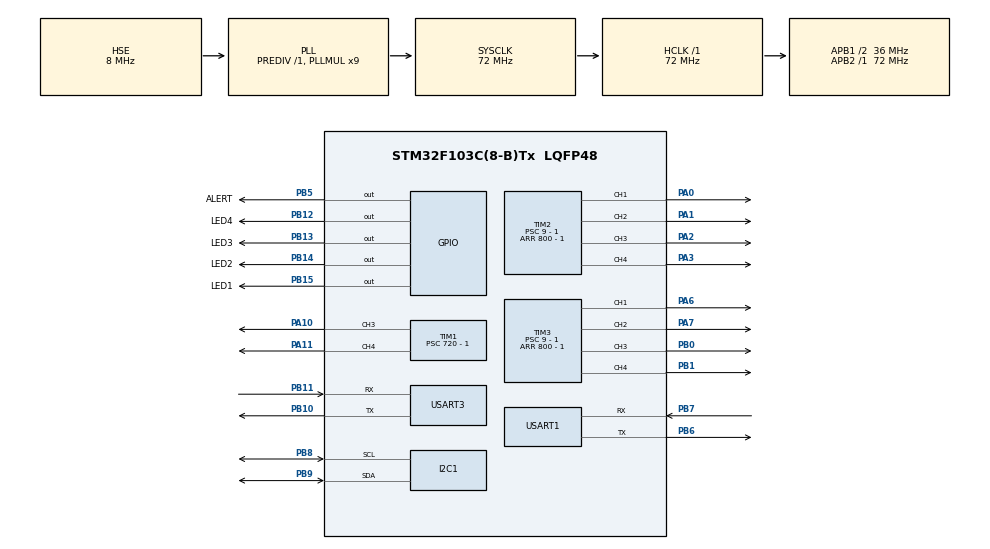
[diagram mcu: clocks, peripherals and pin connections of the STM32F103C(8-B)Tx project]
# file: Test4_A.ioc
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Mcu.Family=STM32F1
Mcu.Name=STM32F103C(8-B)Tx
Mcu.Package=LQFP48
NVIC.I2C1_ER_IRQn=true\:0\:0\:false\:false\:true\:true\:true\:true
NVIC.I2C1_EV_IRQn=true\:0\:0\:false\:false\:true\:true\:true\:true
NVIC.PriorityGroup=NVIC_PRIORITYGROUP_4
NVIC.USART1_IRQn=true\:0\:0\:false\:false\:true\:true\:true\:true
NVIC.USART3_IRQn=true\:0\:0\:false\:false\:true\:true\:true\:true
PA0-WKUP.Signal=S_TIM2_CH1_ETR
PA1.Signal=S_TIM2_CH2
PA10.Signal=S_TIM1_CH3
PA11.Signal=S_TIM1_CH4
PA13.Mode=Serial_Wire
PA13.Signal=SYS_JTMS-SWDIO
PA14.Mode=Serial_Wire
PA14.Signal=SYS_JTCK-SWCLK
PA2.Signal=S_TIM2_CH3
PA3.Signal=S_TIM2_CH4
PA6.Signal=S_TIM3_CH1
PA7.Signal=S_TIM3_CH2
PB0.Signal=S_TIM3_CH3
PB1.Signal=S_TIM3_CH4
PB10.Mode=Asynchronous
PB10.Signal=USART3_TX
PB11.Mode=Asynchronous
PB11.Signal=USART3_RX
PB12.GPIO_Label=LED4
PB12.GPIO_ModeDefaultOutputPP=GPIO_MODE_OUTPUT_OD
PB12.GPIO_PuPd=GPIO_NOPULL
PB12.PinState=GPIO_PIN_SET
PB12.Signal=GPIO_Output
PB13.GPIO_Label=LED3
PB13.GPIO_ModeDefaultOutputPP=GPIO_MODE_OUTPUT_OD
PB13.GPIO_PuPd=GPIO_NOPULL
PB13.PinState=GPIO_PIN_SET
PB13.Signal=GPIO_Output
PB14.GPIO_Label=LED2
PB14.GPIO_ModeDefaultOutputPP=GPIO_MODE_OUTPUT_OD
PB14.GPIO_PuPd=GPIO_NOPULL
PB14.PinState=GPIO_PIN_SET
PB14.Signal=GPIO_Output
PB15.GPIO_Label=LED1
PB15.GPIO_ModeDefaultOutputPP=GPIO_MODE_OUTPUT_OD
PB15.GPIO_PuPd=GPIO_NOPULL
PB15.PinState=GPIO_PIN_SET
PB15.Signal=GPIO_Output
PB5.GPIO_Label=ALERT
PB5.Signal=GPIO_Output
PB6.Mode=Asynchronous
PB6.Signal=USART1_TX
PB7.Mode=Asynchronous
PB7.Signal=USART1_RX
PB8.Mode=I2C
PB8.Signal=I2C1_SCL
PB9.Mode=I2C
PB9.Signal=I2C1_SDA
PD0-OSC_IN.Mode=HSE-External-Oscillator
PD0-OSC_IN.Signal=RCC_OSC_IN
PD1-OSC_OUT.Mode=HSE-External-Oscillator
PD1-OSC_OUT.Signal=RCC_OSC_OUT
ProjectManager.HeapSize=0x200
ProjectManager.StackSize=0x400
ProjectManager.TargetToolchain=MDK-ARM V5.32
RCC.AHBFreq_Value=72000000
RCC.APB1CLKDivider=RCC_HCLK_DIV2
RCC.APB1Freq_Value=36000000
RCC.APB1TimFreq_Value=72000000
RCC.APB2Freq_Value=72000000
RCC.APB2TimFreq_Value=72000000
RCC.HCLKFreq_Value=72000000
RCC.PLLMUL=RCC_PLL_MUL9
RCC.PLLSourceVirtual=RCC_PLLSOURCE_HSE
RCC.SYSCLKFreq_VALUE=72000000
RCC.SYSCLKSource=RCC_SYSCLKSOURCE_PLLCLK
RCC.USBFreq_Value=72000000
SH.S_TIM1_CH3.0=TIM1_CH3,PWM Generation3 CH3
SH.S_TIM1_CH4.0=TIM1_CH4,PWM Generation4 CH4
SH.S_TIM2_CH1_ETR.0=TIM2_CH1,PWM Generation1 CH1
SH.S_TIM2_CH2.0=TIM2_CH2,PWM Generation2 CH2
SH.S_TIM2_CH3.0=TIM2_CH3,PWM Generation3 CH3
SH.S_TIM2_CH4.0=TIM2_CH4,PWM Generation4 CH4
SH.S_TIM3_CH1.0=TIM3_CH1,PWM Generation1 CH1
SH.S_TIM3_CH2.0=TIM3_CH2,PWM Generation2 CH2
SH.S_TIM3_CH3.0=TIM3_CH3,PWM Generation3 CH3
SH.S_TIM3_CH4.0=TIM3_CH4,PWM Generation4 CH4
TIM1.Channel-PWM\ Generation3\ CH3=TIM_CHANNEL_3
TIM1.Channel-PWM\ Generation4\ CH4=TIM_CHANNEL_4
TIM1.Period=2000 - 1
TIM1.Prescaler=720 - 1
TIM1.Pulse-PWM\ Generation3\ CH3=500
TIM1.Pulse-PWM\ Generation4\ CH4=50
TIM2.Channel-PWM\ Generation1\ CH1=TIM_CHANNEL_1
TIM2.Channel-PWM\ Generation2\ CH2=TIM_CHANNEL_2
TIM2.Channel-PWM\ Generation3\ CH3=TIM_CHANNEL_3
TIM2.Channel-PWM\ Generation4\ CH4=TIM_CHANNEL_4
TIM2.Period=800 - 1
TIM2.Prescaler=9 - 1
TIM3.Channel-PWM\ Generation1\ CH1=TIM_CHANNEL_1
TIM3.Channel-PWM\ Generation2\ CH2=TIM_CHANNEL_2
TIM3.Channel-PWM\ Generation3\ CH3=TIM_CHANNEL_3
TIM3.Channel-PWM\ Generation4\ CH4=TIM_CHANNEL_4
TIM3.Period=800 - 1
TIM3.Prescaler=9 - 1
USART1.VirtualMode=VM_ASYNC
USART3.VirtualMode=VM_ASYNC
VP_TIM1_VS_ClockSourceINT.Mode=Internal
VP_TIM2_VS_ClockSourceINT.Mode=Internal
VP_TIM3_VS_ClockSourceINT.Mode=Internal
board=custom

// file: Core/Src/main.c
/* USER CODE BEGIN Header */
/**
  ******************************************************************************
  * @file           : main.c
  * @brief          : Main program body
  ******************************************************************************
  * @attention
  *
  * Copyright (c) 2026 STMicroelectronics.
  * All rights reserved.
  *
  * This software is licensed under terms that can be found in the LICENSE file
  * in the root directory of this software component.
  * If no LICENSE file comes with this software, it is provided AS-IS.
  *
  ******************************************************************************
  */
/* USER CODE END Header */
#include "main.h"
#include "i2c.h"
#include "tim.h"
#include "usart.h"
#include "gpio.h"

/* USER CODE BEGIN Includes */
#include "ThrustCurve.h"
#include "DRV8871.h"
#include "INA226.h"
#include <string.h>
/* USER CODE END Includes */

/* USER CODE BEGIN PTD */
typedef enum {
    STATE_WAIT_FOR_HEADER1,
    STATE_WAIT_FOR_HEADER2,
    STATE_READ_TYPE,
    STATE_READ_DATA,
    STATE_READ_CHECKSUM,
    STATE_READ_TAIL1,
    STATE_READ_TAIL2
} SerialState;
/* USER CODE END PTD */

/* USER CODE BEGIN PD */
#define HEADER_BYTE1 0xFA
#define HEADER_BYTE2 0xAF
#define TAIL_BYTE1 0xFB
#define TAIL_BYTE2 0xBF
/* USER CODE END PD */

/* USER CODE BEGIN PV */
uint8_t uart3_rx_buffer;
SerialState serial_state;
uint8_t command_type;
float y_thrust, x_thrust, z_thrust, yaw_thrust;
float A_pwm, B_pwm, C_pwm, D_pwm;
uint8_t calculated_checksum;
uint8_t angle;
uint8_t data_buf[17];
uint8_t data_read_index = 0;
uint8_t transmit_buffer[15];
uint16_t sg1_pwm;
DRV8871_HandleTypeDef motorA, motorB, motorC, motorD;
float current;
/* USER CODE END PV */

void SystemClock_Config(void);

/* USER CODE BEGIN 0 */
void Process_Serial_Data(uint8_t rx_data)
{
  switch(serial_state)
  {
    case STATE_WAIT_FOR_HEADER1:
      if(rx_data == HEADER_BYTE1)
      {
        serial_state = STATE_WAIT_FOR_HEADER2;
      }
      break;
    case STATE_WAIT_FOR_HEADER2:
      if(rx_data == HEADER_BYTE2)
      {
        serial_state = STATE_READ_TYPE;
      }
      else
      {
        serial_state = STATE_WAIT_FOR_HEADER1;
      }
      break;
    case STATE_READ_TYPE:
      if(rx_data == 0x52)
      {
        command_type = rx_data;
        serial_state = STATE_READ_TAIL1;
      }
      else if(rx_data == 0x49)
      {
        command_type = rx_data;
        data_read_index = 0;
        serial_state = STATE_READ_DATA;
      }
      else
      {
        serial_state = STATE_WAIT_FOR_HEADER1;
      }
      break;
    case STATE_READ_DATA:
      data_buf[data_read_index++] = rx_data;
      if(data_read_index >= 17)
      {
        serial_state = STATE_READ_CHECKSUM;
      }
      break;
    case STATE_READ_CHECKSUM:
      calculated_checksum = command_type;
      for(int i = 0; i < 17; i++)
      {
        calculated_checksum ^= data_buf[i];
      }
      if(rx_data == calculated_checksum)
      {
        serial_state = STATE_READ_TAIL1;
      }
      else
      {
        serial_state = STATE_WAIT_FOR_HEADER1;
      }
      break;
    case STATE_READ_TAIL1:
      if(rx_data == TAIL_BYTE1)
      {
        serial_state = STATE_READ_TAIL2;
      }
      else
      {
        serial_state = STATE_WAIT_FOR_HEADER1;
      }
      break;
    case STATE_READ_TAIL2:
      if(rx_data == TAIL_BYTE2)
      {
        if(command_type == 0x52)
        {
          INA226_ReadInfo();
          current = INA226_Info.current;
          memcpy(&transmit_buffer[8], &current, 4);
          uint8_t checksum = 0;
          for(int i = 2; i < 12; i++)
          {
            checksum ^= transmit_buffer[i];
          }
          transmit_buffer[12] = checksum;
          HAL_UART_Transmit_IT(&huart3, transmit_buffer, sizeof(transmit_buffer));
        }
        else if(command_type == 0x49)
        {
          memcpy(&y_thrust,  &data_buf[0],  4);
          memcpy(&x_thrust,  &data_buf[4],  4);
          memcpy(&z_thrust,  &data_buf[8],  4);
          memcpy(&yaw_thrust, &data_buf[12], 4);
          angle = data_buf[16];
          // A左 B右 提供Y轴前进力(正方向向前) + Yaw轴偏航差动(力臂100mm)
          // C后 D前 提供Z轴升降力(正方向向下)
          // X轴预留，不参与分配
          // yaw_thrust为扭矩(N·m)，除以力臂0.1m换算为单侧差动力(N)
          float yaw_force = yaw_thrust / 0.1f;
          float motorAF = y_thrust / 2.0f + yaw_force;
          float motorBF = y_thrust / 2.0f - yaw_force;
          float motorCF = z_thrust / 2.0f;
          float motorDF = z_thrust / 2.0f;
          A_pwm = 8 * PWM_FromThrust(motorAF);
          B_pwm = 8 * PWM_FromThrust(motorBF);
          C_pwm = 8 * PWM_FromThrust(motorCF);
          D_pwm = 8 * PWM_FromThrust(motorDF);
          DRV8871_SetSpeed(&motorA, A_pwm);
          DRV8871_SetSpeed(&motorB, B_pwm);
          DRV8871_SetSpeed(&motorC, C_pwm);
          DRV8871_SetSpeed(&motorD, D_pwm);
          sg1_pwm = (uint16_t)(50.0f + angle / 256.0f * 200.0f + 0.5f);  // 四舍五入
          __HAL_TIM_SET_COMPARE(&htim1, TIM_CHANNEL_3, sg1_pwm);
        }
      }
      serial_state = STATE_WAIT_FOR_HEADER1;
      break;
    default:
      serial_state = STATE_WAIT_FOR_HEADER1;
      break;
  }
}
void HAL_UART_RxCpltCallback(UART_HandleTypeDef *huart)
{
  if(huart==&huart3)
  {
    Process_Serial_Data(uart3_rx_buffer);
    HAL_UART_Receive_IT(&huart3,&uart3_rx_buffer,1);

  }

}
/* USER CODE END 0 */

int main(void)
{

  /* MCU Configuration--------------------------------------------------------*/

  /* Reset of all peripherals, Initializes the Flash interface and the Systick. */
  HAL_Init();

  /* Configure the system clock */
  SystemClock_Config();

  /* Initialize all configured peripherals */
  MX_GPIO_Init();
  MX_I2C1_Init();
  MX_TIM1_Init();
  MX_TIM2_Init();
  MX_TIM3_Init();
  MX_USART1_UART_Init();
  MX_USART3_UART_Init();
  /* USER CODE BEGIN 2 */
  INA226_Init();
  transmit_buffer[0] = HEADER_BYTE1;
  transmit_buffer[1] = HEADER_BYTE2;
  transmit_buffer[2] = 0x53;
  transmit_buffer[3] = 0;
  transmit_buffer[4] = 0;
  transmit_buffer[5] = 0;
  transmit_buffer[6] = 0;
  transmit_buffer[7] = 0;
  transmit_buffer[13] = TAIL_BYTE1;
  transmit_buffer[14] = TAIL_BYTE2;
  DRV8871_Init(&motorA, &htim2, TIM_CHANNEL_1, TIM_CHANNEL_2);
  DRV8871_Init(&motorB, &htim2, TIM_CHANNEL_3, TIM_CHANNEL_4);
  DRV8871_Init(&motorC, &htim3, TIM_CHANNEL_4, TIM_CHANNEL_3);
  DRV8871_Init(&motorD, &htim3, TIM_CHANNEL_2, TIM_CHANNEL_1);
  DRV8871_Start(&motorA);
  DRV8871_Start(&motorB);
  DRV8871_Start(&motorC);
  DRV8871_Start(&motorD);
  HAL_TIM_PWM_Start(&htim1, TIM_CHANNEL_3);
  HAL_UART_Receive_IT(&huart3, &uart3_rx_buffer, 1);
  /* USER CODE END 2 */

  /* Infinite loop */
  while (1)
  {

  }
}

void SystemClock_Config(void)
{
  RCC_OscInitTypeDef RCC_OscInitStruct = {0};
  RCC_ClkInitTypeDef RCC_ClkInitStruct = {0};

  /** Initializes the RCC Oscillators according to the specified parameters
  * in the RCC_OscInitTypeDef structure.
  */
  RCC_OscInitStruct.OscillatorType = RCC_OSCILLATORTYPE_HSE;
  RCC_OscInitStruct.HSEState = RCC_HSE_ON;
  RCC_OscInitStruct.HSEPredivValue = RCC_HSE_PREDIV_DIV1;
  RCC_OscInitStruct.HSIState = RCC_HSI_ON;
  RCC_OscInitStruct.PLL.PLLState = RCC_PLL_ON;
  RCC_OscInitStruct.PLL.PLLSource = RCC_PLLSOURCE_HSE;
  RCC_OscInitStruct.PLL.PLLMUL = RCC_PLL_MUL9;
  if (HAL_RCC_OscConfig(&RCC_OscInitStruct) != HAL_OK)
  {
    Error_Handler();
  }

  /** Initializes the CPU, AHB and APB buses clocks
  */
  RCC_ClkInitStruct.ClockType = RCC_CLOCKTYPE_HCLK|RCC_CLOCKTYPE_SYSCLK
                              |RCC_CLOCKTYPE_PCLK1|RCC_CLOCKTYPE_PCLK2;
  RCC_ClkInitStruct.SYSCLKSource = RCC_SYSCLKSOURCE_PLLCLK;
  RCC_ClkInitStruct.AHBCLKDivider = RCC_SYSCLK_DIV1;
  RCC_ClkInitStruct.APB1CLKDivider = RCC_HCLK_DIV2;
  RCC_ClkInitStruct.APB2CLKDivider = RCC_HCLK_DIV1;

  if (HAL_RCC_ClockConfig(&RCC_ClkInitStruct, FLASH_LATENCY_2) != HAL_OK)
  {
    Error_Handler();
  }
}

void Error_Handler(void)
{
  __disable_irq();
  while (1)
  {
  }
}
